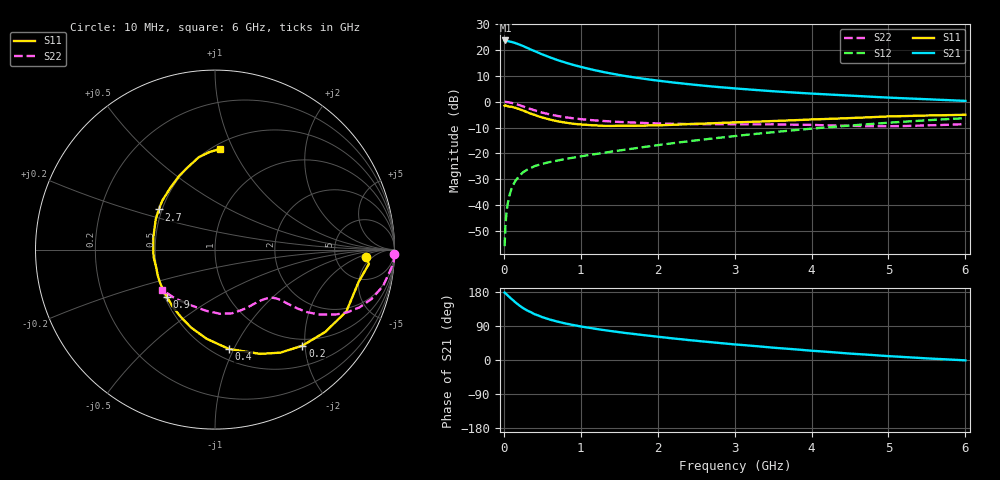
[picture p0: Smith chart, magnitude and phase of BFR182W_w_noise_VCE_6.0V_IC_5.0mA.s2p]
! Infineon Technologies  Discrete & RF Semiconductors
! BFR182W
! VCE =  6.0 V,  IC =  5.0 mA
! Common Emitter S-Parameters:  Jan 2017
# GHz  S  MA  R  50
!  f  S11  S21  S12  S22
! GHz  MAG  ANG  MAG  ANG  MAG  ANG  MAG  ANG
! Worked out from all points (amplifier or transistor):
!   77 points, 10 MHz to 6 GHz, reference 50 ohm
!   highest |S21| = 23.8 dB at 20 MHz (marker M1)
!   |S21| within 3 dB of that: start of sweep to 312.3 MHz
!   unconditionally stable (mu >= 1): 1.36 GHz to 2.848 GHz
!   at 130 MHz: K = 0.17, MSG = 27.3 dB, |S12| = -31.7 dB
!   at 2.2 GHz: K = 1.05, MAG = 10.4 dB, |S12| = -16.0 dB
!   at 6 GHz: K = 0.84, MSG = 3.3 dB, |S12| = -6.3 dB
!   lowest NFmin = 0.88 dB at 450 MHz
!   S11 on the Smith chart (normalised r, x): 10 MHz: 11, -3; 200 MHz: 0.87, -1.95; 400 MHz: 0.59, -0.96; 900 MHz: 0.51, -0.32; 2.7 GHz: 0.48, +0.25; 6 GHz: 0.54, +0.89
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0.01  0.8428 -2.7  15.23 177.9  0.0016 93.0  1 -1.3
0.02  0.8612 -5.3  15.49 176.1  0.0038 94.8  1 -2.7
0.05  0.8201 -12.7  15.07 170.3  0.0106 84.1  0.9859 -6.3
0.1  0.809 -25.2  14.53 161.0  0.0208 78.0  0.9583 -12.2
0.15  0.7669 -36.7  13.78 152.2  0.0294 71.7  0.9146 -17.5
0.2  0.7236 -47.7  12.92 144.2  0.0365 68.0  0.8668 -21.8
0.25  0.68 -57.6  12.09 137.0  0.0432 63.1  0.8166 -25.3
0.3  0.633 -66.6  11.17 131.0  0.0481 60.2  0.7667 -28.1
0.4  0.5591 -82.0  9.625 120.9  0.0568 56.3  0.6845 -31.9
0.5  0.4984 -95.5  8.307 113.1  0.063 54.5  0.6193 -34.2
0.6  0.4539 -107.2  7.283 106.6  0.0684 53.3  0.5704 -35.4
0.7  0.4199 -117.2  6.437 101.2  0.073 53.4  0.5324 -36.1
0.9  0.3767 -135.1  5.214 92.3  0.0829 54.0  0.4809 -37.1
1.1  0.3565 -149.9  4.384 85.3  0.0931 55.4  0.4484 -38.0
1.3  0.3426 -162.3  3.771 79.0  0.1028 56.8  0.4258 -39.3
1.6  0.344 -177.6  3.133 70.8  0.1201 58.8  0.4031 -42.1
2.1  0.355 162.3  2.477 59.2  0.1516 60.4  0.3793 -49.3
2.7  0.3843 144.4  1.992 46.9  0.194 60.2  0.3694 -60.3
3.1  0.4048 134.5  1.779 39.6  0.2254 58.8  0.3671 -67.7
4.1  0.4617 114.2  1.421 23.1  0.3116 53.1  0.3545 -87.9
5.1  0.5265 98.5  1.192 9.1  0.4033 44.5  0.3386 -116.6
6  0.5623 87.0  1.045 -1.0  0.4836 35.2  0.3711 -142.9
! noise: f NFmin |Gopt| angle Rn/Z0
0.45  0.88  0.26  32  0.17
0.9  0.98  0.21  59  0.16
1.9  1.55  0.19  162  0.13
2.4  1.83  0.21  176  0.17
